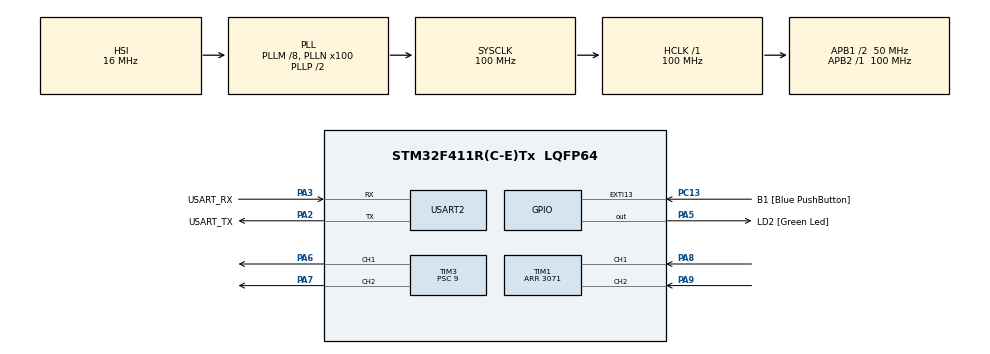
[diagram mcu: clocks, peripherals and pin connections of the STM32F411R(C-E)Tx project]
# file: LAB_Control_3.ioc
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Mcu.Family=STM32F4
Mcu.Name=STM32F411R(C-E)Tx
Mcu.Package=LQFP64
NVIC.PriorityGroup=NVIC_PRIORITYGROUP_0
NVIC.TIM1_TRG_COM_TIM11_IRQn=true\:0\:0\:false\:false\:true\:true\:true\:true
NVIC.TIM4_IRQn=true\:0\:0\:false\:false\:true\:true\:true\:true
PA13.GPIO_Label=TMS
PA13.Mode=Serial_Wire
PA13.Signal=SYS_JTMS-SWDIO
PA14.GPIO_Label=TCK
PA14.Mode=Serial_Wire
PA14.Signal=SYS_JTCK-SWCLK
PA2.GPIO_Label=USART_TX
PA2.Mode=Asynchronous
PA2.Signal=USART2_TX
PA3.GPIO_Label=USART_RX
PA3.Mode=Asynchronous
PA3.Signal=USART2_RX
PA5.GPIO_Label=LD2 [Green Led]
PA5.Signal=GPIO_Output
PA6.Signal=S_TIM3_CH1
PA7.Signal=S_TIM3_CH2
PA8.Signal=S_TIM1_CH1
PA9.Signal=S_TIM1_CH2
PB3.GPIO_Label=SWO
PB3.Signal=SYS_JTDO-SWO
PC13-ANTI_TAMP.GPIO_Label=B1 [Blue PushButton]
PC13-ANTI_TAMP.GPIO_ModeDefaultEXTI=GPIO_MODE_IT_FALLING
PC13-ANTI_TAMP.Signal=GPXTI13
PC14-OSC32_IN.Mode=LSE-External-Oscillator
PC14-OSC32_IN.Signal=RCC_OSC32_IN
PC15-OSC32_OUT.Mode=LSE-External-Oscillator
PC15-OSC32_OUT.Signal=RCC_OSC32_OUT
PH0\ -\ OSC_IN.Mode=HSE-External-Clock-Source
PH0\ -\ OSC_IN.Signal=RCC_OSC_IN
PH1\ -\ OSC_OUT.Mode=HSE-External-Clock-Source
PH1\ -\ OSC_OUT.Signal=RCC_OSC_OUT
ProjectManager.HeapSize=0x200
ProjectManager.StackSize=0x400
ProjectManager.TargetToolchain=STM32CubeIDE
RCC.48MHZClocksFreq_Value=50000000
RCC.AHBFreq_Value=100000000
RCC.APB1CLKDivider=RCC_HCLK_DIV2
RCC.APB1Freq_Value=50000000
RCC.APB1TimFreq_Value=100000000
RCC.APB2Freq_Value=100000000
RCC.APB2TimFreq_Value=100000000
RCC.CortexFreq_Value=100000000
RCC.FLatency-AdvancedSettings=FLASH_LATENCY_3
RCC.HCLKFreq_Value=100000000
RCC.HSE_VALUE=8000000
RCC.HSI_VALUE=16000000
RCC.PLLM=8
RCC.PLLN=100
RCC.SYSCLKFreq_VALUE=100000000
RCC.SYSCLKSource=RCC_SYSCLKSOURCE_PLLCLK
RCC.VCOOutputFreq_Value=200000000
SH.S_TIM1_CH1.0=TIM1_CH1,Encoder_Interface
SH.S_TIM1_CH2.0=TIM1_CH2,Encoder_Interface
SH.S_TIM3_CH1.0=TIM3_CH1,PWM Generation1 CH1
SH.S_TIM3_CH2.0=TIM3_CH2,PWM Generation2 CH2
TIM1.EncoderMode=TIM_ENCODERMODE_TI12
TIM1.Period=3071
TIM3.Channel-PWM\ Generation1\ CH1=TIM_CHANNEL_1
TIM3.Channel-PWM\ Generation2\ CH2=TIM_CHANNEL_2
TIM3.Period=9999
TIM3.Prescaler=9
TIM4.Period=9999
TIM4.Prescaler=99
USART2.VirtualMode=VM_ASYNC
VP_TIM3_VS_ClockSourceINT.Mode=Internal
VP_TIM4_VS_ClockSourceINT.Mode=Internal
board=NUCLEO-F411RE

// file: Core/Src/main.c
/* USER CODE BEGIN Header */
/**
  ******************************************************************************
  * @file           : main.c
  * @brief          : Main program body
  ******************************************************************************
  * @attention
  *
  * Copyright (c) 2022 STMicroelectronics.
  * All rights reserved.
  *
  * This software is licensed under terms that can be found in the LICENSE file
  * in the root directory of this software component.
  * If no LICENSE file comes with this software, it is provided AS-IS.
  *
  ******************************************************************************
  */
/* USER CODE END Header */
#include "main.h"

/* USER CODE BEGIN Includes */
#define _USE_MATH_DEFINES
#include "math.h"
#include "MatLib.h"

#define max(a,b) \
  ({ __typeof__ (a) _a = (a); \
      __typeof__ (b) _b = (b); \
    _a > _b ? _a : _b; })
/* USER CODE END Includes */

 TIM_HandleTypeDef htim1;
TIM_HandleTypeDef htim3;
TIM_HandleTypeDef htim4;

UART_HandleTypeDef huart2;

/* USER CODE BEGIN PV */
float Rads =0;
uint16_t round_count = 0;
float angle = 0;
float angle_before = 0;
float angle_sum = 0;
float angle_base_before = 0;
float angle_base = 0;
float threshold = 0.5*2*M_PI;
float angle_max =2*M_PI;

float position = 0;
float velocity = 0;
float accerelation = 0;
float dt = 0.01;

float ang = 0;
float PWMOut1 = 0;
float PWMOut2 = 0;

Mat I;
Mat A;
Mat G;
Mat Q;
Mat K;
Mat C;
Mat R;

Mat input;
Mat y;
Mat y_old;
Mat x;
Mat x_new;
Mat P;
Mat P_new;

/*
Mat* G;
Mat* Q;
Mat* K;
Mat* C;
Mat* R;

Mat* input; //y
Mat* y; //yhead
Mat* y_old;
Mat* x;
Mat* x_new;
Mat* P;
Mat* P_new;
*/
/*
float I[3][3] = {{1,0,0},{0,1,0},{0,0,1}};
float A[3][3] = {{1.0,0.01,0.00005},{0.0,1.0,0.01},{0.0,0.0,1.0}};
float G[3][1] = {{0.0001,0.01,1}};
float C[1][3] = {{1},{0},{0}};
float Q[1][1] = {0.02};
float R[1][1] = {0.0033};
float P[3][3] = {{0,0,0},{0,0,0},{0,0,0}};
float P_new[3][3];
float x[3][1] = {{0,0,0}};
float x_new[3][1] = {{0,0,0}};
float y[1][1];
float y_old[1][1];
float input[1][1];

float At[3][3];
float Gt[1][3];
float AP[3][3];
float GQ[3][1];
float APAt[3][3];
float GQGt[3][1];
float f[1][1];

float idiot[3][1] = {{4},{3},{2}};
float idiott[1][3] = {0};
*/
/* USER CODE END PV */

void SystemClock_Config(void);
static void MX_GPIO_Init(void);
static void MX_USART2_UART_Init(void);
static void MX_TIM1_Init(void);
static void MX_TIM3_Init(void);
static void MX_TIM4_Init(void);
/* USER CODE BEGIN PFP */
void Unwrap();
void prediction();
void update();
void kalmanfilter();
void setmatrix();

void calPWM();
/*
void multiplymatrix(float mult[][10],float A[][10],float B [][10],int rowA, int colA, int rowB,int colB);
void summatrix(float res[][10],float A[][10],float B [][10],int rowA, int colA);
void minusmatrix(float res[][10],float A[][10],float B [][10],int rowA, int colA);
void transposematrix(float res[][10],float A[][10],int rowA, int colA);
//float multiplymatrix(float a,float b);
 */
/* USER CODE END PFP */

int main(void)
{

  /* MCU Configuration--------------------------------------------------------*/

  /* Reset of all peripherals, Initializes the Flash interface and the Systick. */
  HAL_Init();

  /* Configure the system clock */
  SystemClock_Config();

  /* Initialize all configured peripherals */
  MX_GPIO_Init();
  MX_USART2_UART_Init();
  MX_TIM1_Init();
  MX_TIM3_Init();
  MX_TIM4_Init();
  /* USER CODE BEGIN 2 */
  	//micro
	HAL_TIM_Base_Start_IT(&htim4);
	//Encoder
	HAL_TIM_Base_Start_IT(&htim1);
	HAL_TIM_Encoder_Start(&htim1, TIM_CHANNEL_ALL);

	//PWM
	HAL_TIM_Base_Start(&htim3);
	HAL_TIM_PWM_Start(&htim3, TIM_CHANNEL_1);
	HAL_TIM_PWM_Start(&htim3, TIM_CHANNEL_2);

	uint32_t Timestamp = 0;
	setmatrix();
  /* USER CODE END 2 */

  /* Infinite loop */
  /* USER CODE BEGIN WHILE */
  while (1)
  {
	  Unwrap();
	  if(HAL_GetTick()-Timestamp >10)
	  {
		  prediction();
		  update();
		  kalmanfilter();

		  calPWM();
		  __HAL_TIM_SET_COMPARE(&htim3, TIM_CHANNEL_1, PWMOut1);
		  __HAL_TIM_SET_COMPARE(&htim3, TIM_CHANNEL_2, PWMOut2);

		  Timestamp = HAL_GetTick();
	  }

    /* USER CODE END WHILE */

  }
}

void SystemClock_Config(void)
{
  RCC_OscInitTypeDef RCC_OscInitStruct = {0};
  RCC_ClkInitTypeDef RCC_ClkInitStruct = {0};

  /** Configure the main internal regulator output voltage
  */
  __HAL_RCC_PWR_CLK_ENABLE();
  __HAL_PWR_VOLTAGESCALING_CONFIG(PWR_REGULATOR_VOLTAGE_SCALE1);

  /** Initializes the RCC Oscillators according to the specified parameters
  * in the RCC_OscInitTypeDef structure.
  */
  RCC_OscInitStruct.OscillatorType = RCC_OSCILLATORTYPE_HSI;
  RCC_OscInitStruct.HSIState = RCC_HSI_ON;
  RCC_OscInitStruct.HSICalibrationValue = RCC_HSICALIBRATION_DEFAULT;
  RCC_OscInitStruct.PLL.PLLState = RCC_PLL_ON;
  RCC_OscInitStruct.PLL.PLLSource = RCC_PLLSOURCE_HSI;
  RCC_OscInitStruct.PLL.PLLM = 8;
  RCC_OscInitStruct.PLL.PLLN = 100;
  RCC_OscInitStruct.PLL.PLLP = RCC_PLLP_DIV2;
  RCC_OscInitStruct.PLL.PLLQ = 4;
  if (HAL_RCC_OscConfig(&RCC_OscInitStruct) != HAL_OK)
  {
    Error_Handler();
  }

  /** Initializes the CPU, AHB and APB buses clocks
  */
  RCC_ClkInitStruct.ClockType = RCC_CLOCKTYPE_HCLK|RCC_CLOCKTYPE_SYSCLK
                              |RCC_CLOCKTYPE_PCLK1|RCC_CLOCKTYPE_PCLK2;
  RCC_ClkInitStruct.SYSCLKSource = RCC_SYSCLKSOURCE_PLLCLK;
  RCC_ClkInitStruct.AHBCLKDivider = RCC_SYSCLK_DIV1;
  RCC_ClkInitStruct.APB1CLKDivider = RCC_HCLK_DIV2;
  RCC_ClkInitStruct.APB2CLKDivider = RCC_HCLK_DIV1;

  if (HAL_RCC_ClockConfig(&RCC_ClkInitStruct, FLASH_LATENCY_3) != HAL_OK)
  {
    Error_Handler();
  }
}

static void MX_TIM1_Init(void)
{

  TIM_Encoder_InitTypeDef sConfig = {0};
  TIM_MasterConfigTypeDef sMasterConfig = {0};

  htim1.Instance = TIM1;
  htim1.Init.Prescaler = 0;
  htim1.Init.CounterMode = TIM_COUNTERMODE_UP;
  htim1.Init.Period = 3071;
  htim1.Init.ClockDivision = TIM_CLOCKDIVISION_DIV1;
  htim1.Init.RepetitionCounter = 0;
  htim1.Init.AutoReloadPreload = TIM_AUTORELOAD_PRELOAD_DISABLE;
  sConfig.EncoderMode = TIM_ENCODERMODE_TI12;
  sConfig.IC1Polarity = TIM_ICPOLARITY_RISING;
  sConfig.IC1Selection = TIM_ICSELECTION_DIRECTTI;
  sConfig.IC1Prescaler = TIM_ICPSC_DIV1;
  sConfig.IC1Filter = 0;
  sConfig.IC2Polarity = TIM_ICPOLARITY_RISING;
  sConfig.IC2Selection = TIM_ICSELECTION_DIRECTTI;
  sConfig.IC2Prescaler = TIM_ICPSC_DIV1;
  sConfig.IC2Filter = 0;
  if (HAL_TIM_Encoder_Init(&htim1, &sConfig) != HAL_OK)
  {
    Error_Handler();
  }
  sMasterConfig.MasterOutputTrigger = TIM_TRGO_RESET;
  sMasterConfig.MasterSlaveMode = TIM_MASTERSLAVEMODE_DISABLE;
  if (HAL_TIMEx_MasterConfigSynchronization(&htim1, &sMasterConfig) != HAL_OK)
  {
    Error_Handler();
  }

}

static void MX_TIM3_Init(void)
{

  TIM_ClockConfigTypeDef sClockSourceConfig = {0};
  TIM_MasterConfigTypeDef sMasterConfig = {0};
  TIM_OC_InitTypeDef sConfigOC = {0};

  htim3.Instance = TIM3;
  htim3.Init.Prescaler = 9;
  htim3.Init.CounterMode = TIM_COUNTERMODE_UP;
  htim3.Init.Period = 9999;
  htim3.Init.ClockDivision = TIM_CLOCKDIVISION_DIV1;
  htim3.Init.AutoReloadPreload = TIM_AUTORELOAD_PRELOAD_DISABLE;
  if (HAL_TIM_Base_Init(&htim3) != HAL_OK)
  {
    Error_Handler();
  }
  sClockSourceConfig.ClockSource = TIM_CLOCKSOURCE_INTERNAL;
  if (HAL_TIM_ConfigClockSource(&htim3, &sClockSourceConfig) != HAL_OK)
  {
    Error_Handler();
  }
  if (HAL_TIM_PWM_Init(&htim3) != HAL_OK)
  {
    Error_Handler();
  }
  sMasterConfig.MasterOutputTrigger = TIM_TRGO_RESET;
  sMasterConfig.MasterSlaveMode = TIM_MASTERSLAVEMODE_DISABLE;
  if (HAL_TIMEx_MasterConfigSynchronization(&htim3, &sMasterConfig) != HAL_OK)
  {
    Error_Handler();
  }
  sConfigOC.OCMode = TIM_OCMODE_PWM1;
  sConfigOC.Pulse = 0;
  sConfigOC.OCPolarity = TIM_OCPOLARITY_HIGH;
  sConfigOC.OCFastMode = TIM_OCFAST_DISABLE;
  if (HAL_TIM_PWM_ConfigChannel(&htim3, &sConfigOC, TIM_CHANNEL_1) != HAL_OK)
  {
    Error_Handler();
  }
  if (HAL_TIM_PWM_ConfigChannel(&htim3, &sConfigOC, TIM_CHANNEL_2) != HAL_OK)
  {
    Error_Handler();
  }
  HAL_TIM_MspPostInit(&htim3);

}

static void MX_TIM4_Init(void)
{

  TIM_ClockConfigTypeDef sClockSourceConfig = {0};
  TIM_MasterConfigTypeDef sMasterConfig = {0};

  htim4.Instance = TIM4;
  htim4.Init.Prescaler = 99;
  htim4.Init.CounterMode = TIM_COUNTERMODE_UP;
  htim4.Init.Period = 9999;
  htim4.Init.ClockDivision = TIM_CLOCKDIVISION_DIV1;
  htim4.Init.AutoReloadPreload = TIM_AUTORELOAD_PRELOAD_DISABLE;
  if (HAL_TIM_Base_Init(&htim4) != HAL_OK)
  {
    Error_Handler();
  }
  sClockSourceConfig.ClockSource = TIM_CLOCKSOURCE_INTERNAL;
  if (HAL_TIM_ConfigClockSource(&htim4, &sClockSourceConfig) != HAL_OK)
  {
    Error_Handler();
  }
  sMasterConfig.MasterOutputTrigger = TIM_TRGO_RESET;
  sMasterConfig.MasterSlaveMode = TIM_MASTERSLAVEMODE_DISABLE;
  if (HAL_TIMEx_MasterConfigSynchronization(&htim4, &sMasterConfig) != HAL_OK)
  {
    Error_Handler();
  }

}

static void MX_USART2_UART_Init(void)
{

  huart2.Instance = USART2;
  huart2.Init.BaudRate = 115200;
  huart2.Init.WordLength = UART_WORDLENGTH_8B;
  huart2.Init.StopBits = UART_STOPBITS_1;
  huart2.Init.Parity = UART_PARITY_NONE;
  huart2.Init.Mode = UART_MODE_TX_RX;
  huart2.Init.HwFlowCtl = UART_HWCONTROL_NONE;
  huart2.Init.OverSampling = UART_OVERSAMPLING_16;
  if (HAL_UART_Init(&huart2) != HAL_OK)
  {
    Error_Handler();
  }

}

static void MX_GPIO_Init(void)
{
  GPIO_InitTypeDef GPIO_InitStruct = {0};

  /* GPIO Ports Clock Enable */
  __HAL_RCC_GPIOC_CLK_ENABLE();
  __HAL_RCC_GPIOH_CLK_ENABLE();
  __HAL_RCC_GPIOA_CLK_ENABLE();
  __HAL_RCC_GPIOB_CLK_ENABLE();

  /*Configure GPIO pin Output Level */
  HAL_GPIO_WritePin(LD2_GPIO_Port, LD2_Pin, GPIO_PIN_RESET);

  /*Configure GPIO pin : B1_Pin */
  GPIO_InitStruct.Pin = B1_Pin;
  GPIO_InitStruct.Mode = GPIO_MODE_IT_FALLING;
  GPIO_InitStruct.Pull = GPIO_NOPULL;
  HAL_GPIO_Init(B1_GPIO_Port, &GPIO_InitStruct);

  /*Configure GPIO pin : LD2_Pin */
  GPIO_InitStruct.Pin = LD2_Pin;
  GPIO_InitStruct.Mode = GPIO_MODE_OUTPUT_PP;
  GPIO_InitStruct.Pull = GPIO_NOPULL;
  GPIO_InitStruct.Speed = GPIO_SPEED_FREQ_LOW;
  HAL_GPIO_Init(LD2_GPIO_Port, &GPIO_InitStruct);

}

/* USER CODE BEGIN 4 */
void Unwrap()
{
	angle_before = angle;
	angle = Rads;
	angle_base_before = angle_base;
	if ((angle - angle_before) <= -threshold){
		angle_base = angle_base_before + angle_max;
	}
	else if ((angle - angle_before) >= threshold){
		angle_base = angle_base_before - angle_max;
	}
	else{
		angle_base = angle_base_before;
	}
	angle_sum = angle + angle_base;
}

void prediction(){
	x_new = multiply(A, x);
	P_new = sum(multiply(multiply(A, P), transpose(A)), multiply(multiply(G, Q), transpose(G)));
}

void update(){
	static Mat sumK;
	sumK = sum(R, multiply(multiply(C, P_new), transpose(C)));
	float data_sumK[9] = {1/sumK.entries[0][0]};
	sumK = newmat(1, 1, data_sumK);
	K = multiply(multiply(P_new, transpose(C)), sumK);
	P = multiply(minus(I, multiply(K, C)), P_new);
	float data_input[9] = {angle_sum};
	input = newmat(1, 1, data_input);
	y_old = multiply(C, x_new);
	y = minus(input, y_old);
	x = sum(multiply(K, y), x_new);
}

void kalmanfilter(){
	y = multiply(C, x);
	position = y.entries[0][0];
	velocity = x.entries[1][0];
	accerelation = x.entries[2][0];
}

void setmatrix(){
	float data_I[9] = {1,0,0,0,1,0,0,0,1};
	float data_A[9] = {1,dt,0.5*dt*dt,0,1,dt,0,0,1};
	float data_G[9] = {dt*dt,dt,1};
	float data_C[9] = {1,0,0};
	float data_R[9] = {0.0033};
	float data_Q[9] = {0.0};
	float data_zero[9] = {0,0,0,0,0,0,0,0,0};

	I = newmat(3, 3, data_I);

	A = newmat(3, 3, data_A);
	G = newmat(3, 1, data_G);
	C = newmat(1, 3, data_C);
	R = newmat(1, 1, data_R);
	Q = newmat(1, 1, data_Q);

	input = newmat(1, 1, data_zero);
	K = newmat(3, 1, data_zero);
	x = newmat(3, 1, data_zero);
	x_new = newmat(3, 1, data_zero);
	P = newmat(3, 3, data_zero);
	P_new = newmat(3, 3, data_zero);
	y = newmat(1, 1, data_zero);
	y_old = newmat(1, 1, data_zero);
}

void calPWM(){
	PWMOut1 = max(0.0, 10000*sin(ang));
	PWMOut2 = max(0.0, 10000*sin(ang+M_PI));
	ang += (1.0/100.0)*M_PI;
}

void HAL_TIM_PeriodElapsedCallback(TIM_HandleTypeDef *htim)
{
	if (htim == &htim4)
	{
		Rads = (TIM1->CNT/3072.0)*(2*M_PI);
	}
}

/* USER CODE END 4 */

void Error_Handler(void)
{
  __disable_irq();
  while (1)
  {
  }
}
